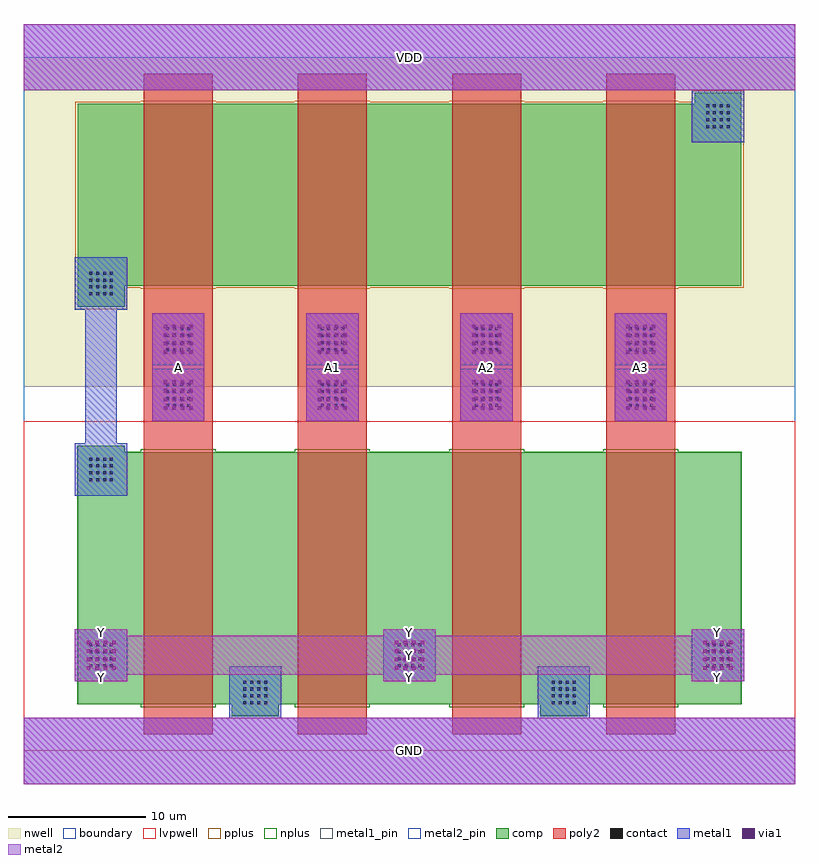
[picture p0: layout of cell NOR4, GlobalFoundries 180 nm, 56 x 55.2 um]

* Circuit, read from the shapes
.subckt NOR4 A A1 A2 A3 GND VDD Y
XM1 GND A Y VSUBS nfet_03v3 w=18.3u l=5u
XM2 Y A1 GND VSUBS nfet_03v3 w=18.3u l=5u
XM3 GND A2 Y VSUBS nfet_03v3 w=18.3u l=5u
XM4 Y A3 GND VSUBS nfet_03v3 w=18.3u l=5u
XM5 n1 A Y n2 pfet_03v3 w=13.2u l=5u
XM6 n3 A1 n1 n2 pfet_03v3 w=13.2u l=5u
XM7 n4 A2 n3 n2 pfet_03v3 w=13.2u l=5u
XM8 VDD A3 n4 n2 pfet_03v3 w=13.2u l=5u
.ends

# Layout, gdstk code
import gdstk
lib = gdstk.Library(unit=1e-6, precision=1e-09)
def R(c, l, rs):  # rectangles x0, y0, x1, y1
    for r in rs: c.add(gdstk.rectangle(r[:2], r[2:], *l))
def A(c, l, x, y, w, h, nx, ny, dx, dy):  # array of equal rectangles
    R(c, l, [(x+i*dx, y+j*dy, x+i*dx+w, y+j*dy+h) for i in range(nx) for j in range(ny)])
boundary = (0, 0)
nwell = (21, 0)
comp = (22, 0)
poly2 = (30, 0)
pplus = (31, 0)
nplus = (32, 0)
contact = (33, 0)
metal1 = (34, 0)
metal1_pin = (34, 10)
via1 = (35, 0)
metal2 = (36, 0)
metal2_pin = (36, 10)
lvpwell = (204, 0)

nor4 = lib.new_cell('NOR4')
R(nor4, boundary, [(0,0,56,50.4)])
R(nor4, nwell, [(0,26.45,56,50.4)])
R(nor4, comp, [(15.1,2.55,18.5,3.4), (37.5,2.55,40.9,3.4), (3.9,3.4,52.1,21.7), (3.9,21.7,7.3,22.15), (3.9,32.25,7.3,33.8), (3.9,33.8,52.1,47), (48.7,47,52.1,47.8)])
A(nor4, poly2, 8.7, 1.2, 5, 48, 4, 1, 11.2, 0)
A(nor4, pplus, 8.47, 33.57, 5.46, 0.07, 4, 2, 11.2, 13.59)
R(nor4, pplus, [(3.74,32.09,7.46,33.64), (3.74,33.64,52.26,47.16), (48.54,47.16,52.26,47.96)])
A(nor4, nplus, 8.47, 3.17, 5.46, 0.21, 4, 2, 11.2, 18.55)
R(nor4, nplus, [(15.08,2.53,18.52,3.38), (37.48,2.53,40.92,3.38), (3.88,3.38,52.12,21.72), (3.88,21.72,7.32,22.17)])
A(nor4, contact, 15.94, 3.39, 0.22, 0.22, 4, 4, 0.5, 0.5)
A(nor4, contact, 38.34, 3.39, 0.22, 0.22, 4, 4, 0.5, 0.5)
A(nor4, contact, 4.74, 6.09, 0.22, 0.22, 4, 4, 0.5, 0.5)
A(nor4, contact, 27.14, 6.09, 0.22, 0.22, 4, 4, 0.5, 0.5)
A(nor4, contact, 49.54, 6.09, 0.22, 0.22, 4, 4, 0.5, 0.5)
A(nor4, contact, 4.74, 19.59, 0.22, 0.22, 4, 4, 0.5, 0.5)
A(nor4, contact, 10.34, 24.99, 0.22, 0.22, 4, 4, 0.5, 0.5)
A(nor4, contact, 21.54, 24.99, 0.22, 0.22, 4, 4, 0.5, 0.5)
A(nor4, contact, 32.74, 24.99, 0.22, 0.22, 4, 4, 0.5, 0.5)
A(nor4, contact, 43.94, 24.99, 0.22, 0.22, 4, 4, 0.5, 0.5)
A(nor4, contact, 10.34, 29.04, 0.22, 0.22, 4, 4, 0.5, 0.5)
A(nor4, contact, 21.54, 29.04, 0.22, 0.22, 4, 4, 0.5, 0.5)
A(nor4, contact, 32.74, 29.04, 0.22, 0.22, 4, 4, 0.5, 0.5)
A(nor4, contact, 43.94, 29.04, 0.22, 0.22, 4, 4, 0.5, 0.5)
A(nor4, contact, 4.74, 33.09, 0.22, 0.22, 4, 4, 0.5, 0.5)
A(nor4, contact, 49.54, 45.24, 0.22, 0.22, 4, 4, 0.5, 0.5)
A(nor4, metal1, 3.7, 5.05, 3.8, 3.8, 3, 1, 22.4, 0)
A(nor4, metal1, 9.3, 23.95, 3.8, 3.8, 4, 2, 11.2, 4.05)
R(nor4, metal1, [(0,-2.4,56,2.4), (14.9,2.4,18.7,6.15), (37.3,2.4,41.1,6.15), (3.7,18.55,7.5,22.35), (4.45,22.35,6.75,32.05), (3.7,32.05,7.5,35.85), (48.5,44.2,52.3,48), (0,48,56,52.8)])
R(nor4, metal1_pin, [(0,-2.4,56,2.4), (0,48,56,52.8)])
A(nor4, via1, 4.54, 5.89, 0.26, 0.26, 4, 4, 0.62, 0.62)
A(nor4, via1, 26.94, 5.89, 0.26, 0.26, 4, 4, 0.62, 0.62)
A(nor4, via1, 49.34, 5.89, 0.26, 0.26, 4, 4, 0.62, 0.62)
A(nor4, via1, 10.14, 24.79, 0.26, 0.26, 4, 4, 0.62, 0.62)
A(nor4, via1, 21.34, 24.79, 0.26, 0.26, 4, 4, 0.62, 0.62)
A(nor4, via1, 32.54, 24.79, 0.26, 0.26, 4, 4, 0.62, 0.62)
A(nor4, via1, 43.74, 24.79, 0.26, 0.26, 4, 4, 0.62, 0.62)
A(nor4, via1, 10.14, 28.84, 0.26, 0.26, 4, 4, 0.62, 0.62)
A(nor4, via1, 21.34, 28.84, 0.26, 0.26, 4, 4, 0.62, 0.62)
A(nor4, via1, 32.54, 28.84, 0.26, 0.26, 4, 4, 0.62, 0.62)
A(nor4, via1, 43.74, 28.84, 0.26, 0.26, 4, 4, 0.62, 0.62)
A(nor4, metal2, 3.7, 5.05, 3.8, 0.5, 3, 2, 22.4, 3.3)
A(nor4, metal2, 9.3, 23.95, 3.8, 7.85, 4, 1, 11.2, 0)
R(nor4, metal2, [(0,-2.4,56,2.4), (3.7,5.55,52.3,8.35), (0,48,56,52.8)])
A(nor4, metal2_pin, 3.7, 5.05, 3.8, 0.5, 3, 2, 22.4, 3.3)
A(nor4, metal2_pin, 9.3, 23.95, 3.8, 7.85, 4, 1, 11.2, 0)
R(nor4, metal2_pin, [(3.7,5.55,52.3,8.35)])
R(nor4, lvpwell, [(0,0,56,23.95)])
nor4.add(gdstk.Label('VDD', (28,50.4), layer=34, texttype=10))
nor4.add(gdstk.Label('GND', (28,0), layer=34, texttype=10))
nor4.add(gdstk.Label('Y', (5.6,5.3), layer=36, texttype=10))
nor4.add(gdstk.Label('Y', (28,5.3), layer=36, texttype=10))
nor4.add(gdstk.Label('Y', (50.4,5.3), layer=36, texttype=10))
nor4.add(gdstk.Label('Y', (28,6.95), layer=36, texttype=10))
nor4.add(gdstk.Label('Y', (5.6,8.6), layer=36, texttype=10))
nor4.add(gdstk.Label('Y', (28,8.6), layer=36, texttype=10))
nor4.add(gdstk.Label('Y', (50.4,8.6), layer=36, texttype=10))
nor4.add(gdstk.Label('A2', (33.6,27.875), layer=36, texttype=10))
nor4.add(gdstk.Label('A1', (22.4,27.875), layer=36, texttype=10))
nor4.add(gdstk.Label('A3', (44.8,27.875), layer=36, texttype=10))
nor4.add(gdstk.Label('A', (11.2,27.875), layer=36, texttype=10))

lib.write_gds('NOR4.gds')
